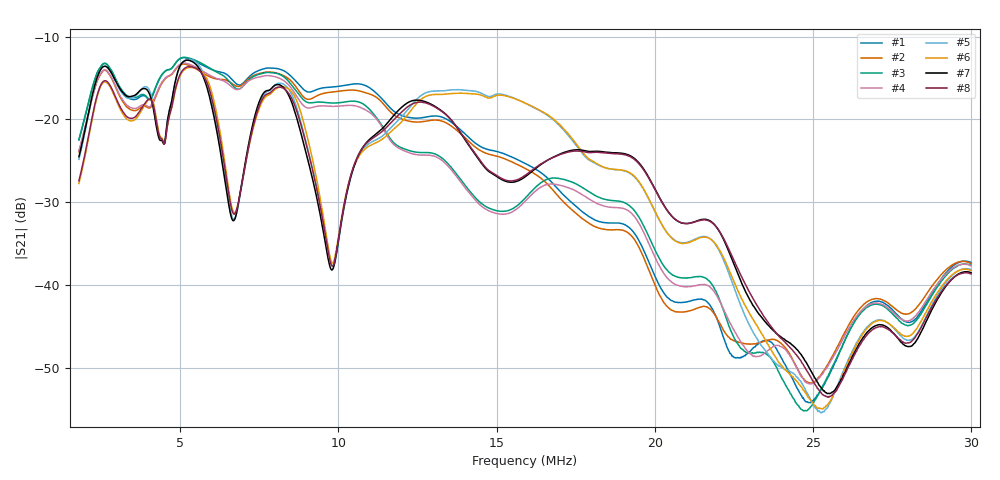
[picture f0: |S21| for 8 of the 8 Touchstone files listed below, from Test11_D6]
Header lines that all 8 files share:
!Agilent Technologies,E5061B,MY49101568,A.02.00
!Data & Calibration Information:
!Freq	S11:SOLT2(OFF)	S21:SOLT2(OFF)	S12:SOLT2(OFF)	S22:SOLT2(OFF)
# Hz S dB R 50
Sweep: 1.8 MHz to 30 MHz
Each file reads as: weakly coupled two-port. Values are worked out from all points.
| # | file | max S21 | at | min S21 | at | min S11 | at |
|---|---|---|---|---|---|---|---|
| 1 | CASE6.S2P | -12.54 dB | 5.123 MHz | -54.2 dB | 24.92 MHz | -36.5 dB | 16.71 MHz |
| 2 | CASE7.S2P | -13.31 dB | 5.123 MHz | -51.9 dB | 24.89 MHz | -36.1 dB | 16.71 MHz |
| 3 | CASE8.S2P | -12.49 dB | 5.123 MHz | -55.2 dB | 24.7 MHz | -39.3 dB | 12.89 MHz |
| 4 | CASE9.S2P | -13.20 dB | 5.123 MHz | -52.0 dB | 24.92 MHz | -37.7 dB | 12.89 MHz |
| 5 | CASE16.S2P | -12.73 dB | 5.246 MHz | -55.5 dB | 25.26 MHz | -48.4 dB | 14.92 MHz |
| 6 | CASE17.S2P | -13.72 dB | 5.319 MHz | -55.0 dB | 25.31 MHz | -52.3 dB | 14.85 MHz |
| 7 | CASE18.S2P | -12.84 dB | 5.246 MHz | -53.1 dB | 25.45 MHz | -28.4 dB | 28.39 MHz |
| 8 | CASE19.S2P | -13.62 dB | 5.294 MHz | -53.6 dB | 25.5 MHz | -29.3 dB | 28.39 MHz |
